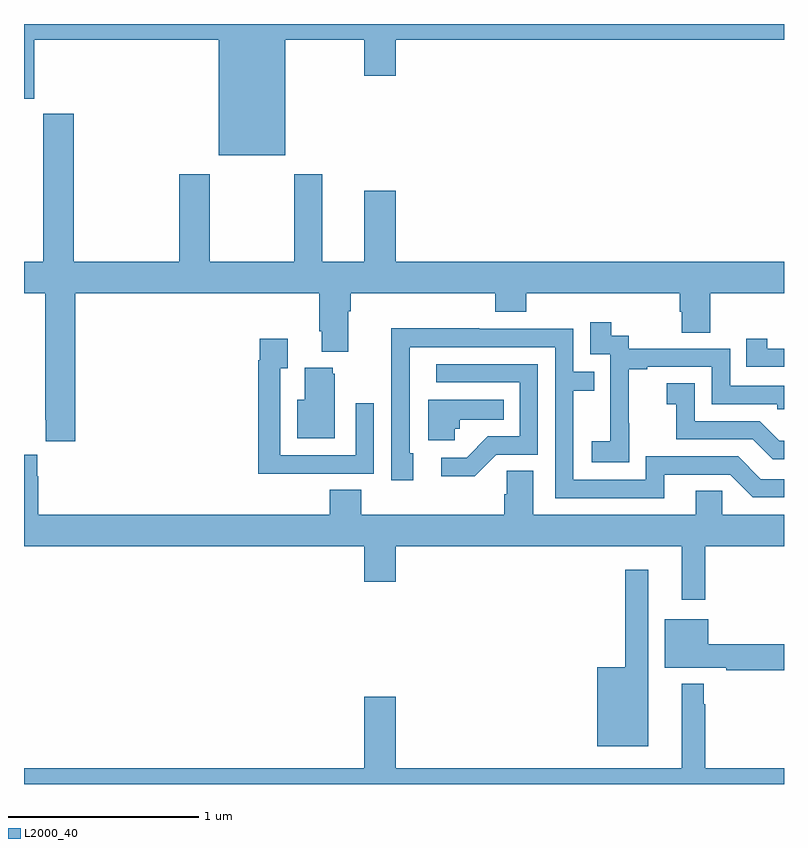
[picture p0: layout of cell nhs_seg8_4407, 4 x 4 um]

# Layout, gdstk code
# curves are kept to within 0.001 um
import gdstk
lib = gdstk.Library(unit=1e-6, precision=1e-09)
def P(c, l, *ps):  # polygons
    for p in ps: c.add(gdstk.Polygon(p, *l))
L2000_40 = (2000, 40)

nhs_seg8_4407 = lib.new_cell('nhs_seg8_4407')
P(nhs_seg8_4407, L2000_40, [(380.374,1133.816),(380.792,1133.816),(380.792,1133.628),(380.956,1133.628),(380.956,1133.816),(383,1133.816),(383,1133.9),(379,1133.9),(379,1133.507),(379.054,1133.507),(379.054,1133.816),(380.024,1133.816),(380.024,1133.21),(380.374,1133.21)],
  [(379.271,1132.484),(380.555,1132.484),(380.555,1132.282),(380.567,1132.282),(380.567,1132.175),(380.707,1132.175),(380.707,1132.388),(380.72,1132.388),(380.72,1132.484),(381.479,1132.484),(381.479,1132.385),(381.644,1132.385),(381.644,1132.484),(382.451,1132.484),(382.451,1132.386),(382.463,1132.386),(382.463,1132.276),(382.611,1132.276),(382.611,1132.484),(383,1132.484),(383,1132.648),(380.956,1132.648),(380.956,1133.023),(380.792,1133.023),(380.792,1132.648),(380.569,1132.648),(380.569,1133.11),(380.422,1133.11),(380.422,1132.648),(379.977,1132.648),(379.977,1133.11),(379.817,1133.11),(379.817,1132.648),(379.262,1132.648),(379.262,1133.428),(379.102,1133.428),(379.102,1132.648),(379,1132.648),(379,1132.484),(379.111,1132.484),(379.111,1131.817),(379.115,1131.817),(379.115,1131.705),(379.271,1131.705)],
  [(382.185,1131.799),(382.184,1131.799),(382.184,1132.083),(382.279,1132.083),(382.279,1132.095),(382.62,1132.095),(382.62,1131.9),(382.965,1131.9),(382.965,1131.873),(383,1131.873),(383,1131.996),(382.716,1131.996),(382.716,1132.191),(382.182,1132.191),(382.182,1132.26),(382.09,1132.26),(382.09,1132.33),(381.981,1132.33),(381.981,1132.161),(382.086,1132.161),(382.086,1131.932),(382.085,1131.932),(382.085,1131.703),(381.987,1131.703),(381.987,1131.593),(382.185,1131.593)],
  [(382.369,1131.528),(382.716,1131.528),(382.836,1131.408),(383,1131.408),(383,1131.504),(382.878,1131.504),(382.758,1131.624),(382.272,1131.624),(382.272,1131.501),(381.891,1131.501),(381.891,1131.97),(382.001,1131.97),(382.001,1132.071),(381.891,1132.071),(381.891,1132.296),(381.395,1132.296),(381.395,1132.298),(380.932,1132.298),(380.932,1131.991),(380.934,1131.991),(380.934,1131.498),(381.049,1131.498),(381.049,1131.642),(381.03,1131.642),(381.031,1132.2),(381.795,1132.2),(381.795,1131.405),(382.369,1131.405)],
  [(383,1132.191),(382.912,1132.191),(382.912,1132.243),(382.801,1132.243),(382.801,1132.095),(383,1132.095)],
  [(380.525,1131.534),(380.841,1131.534),(380.841,1131.904),(380.745,1131.904),(380.745,1131.63),(380.349,1131.63),(380.349,1132.087),(380.389,1132.087),(380.389,1132.243),(380.241,1132.243),(380.241,1132.13),(380.233,1132.13),(380.233,1131.533),(380.525,1131.533)],
  [(381.486,1131.633),(381.705,1131.633),(381.705,1132.11),(381.171,1132.11),(381.171,1132.014),(381.609,1132.014),(381.609,1131.729),(381.44,1131.729),(381.329,1131.618),(381.195,1131.618),(381.195,1131.521),(381.373,1131.521)],
  [(380.635,1132.059),(380.624,1132.059),(380.624,1132.09),(380.477,1132.09),(380.477,1131.922),(380.438,1131.922),(380.438,1131.719),(380.635,1131.719)],
  [(383,1131.706),(382.976,1131.706),(382.872,1131.81),(382.53,1131.81),(382.53,1132.009),(382.383,1132.009),(382.383,1131.899),(382.432,1131.899),(382.432,1131.714),(382.835,1131.714),(382.94,1131.609),(383,1131.609)],
  [(381.267,1131.771),(381.294,1131.771),(381.294,1131.818),(381.524,1131.818),(381.524,1131.922),(381.128,1131.922),(381.128,1131.71),(381.267,1131.71)],
  [(382.585,1131.152),(383,1131.152),(383,1131.316),(382.674,1131.316),(382.674,1131.443),(382.535,1131.443),(382.535,1131.316),(381.679,1131.316),(381.679,1131.548),(381.54,1131.548),(381.54,1131.425),(381.527,1131.425),(381.527,1131.316),(380.774,1131.316),(380.774,1131.449),(380.609,1131.449),(380.609,1131.316),(379.076,1131.316),(379.076,1131.521),(379.069,1131.521),(379.069,1131.634),(379,1131.634),(379,1131.152),(380.792,1131.152),(380.792,1130.964),(380.956,1130.964),(380.956,1131.152),(382.463,1131.152),(382.463,1130.871),(382.585,1130.871)],
  [(382.285,1131.028),(382.164,1131.028),(382.164,1130.515),(382.016,1130.515),(382.016,1130.099),(382.285,1130.099)],
  [(383,1130.636),(382.6,1130.636),(382.6,1130.767),(382.373,1130.767),(382.373,1130.513),(382.696,1130.513),(382.696,1130.5),(383,1130.5)],
  [(383,1129.984),(382.585,1129.984),(382.585,1130.321),(382.578,1130.321),(382.578,1130.428),(382.463,1130.428),(382.463,1129.984),(380.956,1129.984),(380.956,1130.359),(380.792,1130.359),(380.792,1129.984),(379,1129.984),(379,1129.9),(383,1129.9)])

lib.write_gds('nhs_seg8_4407.gds')
